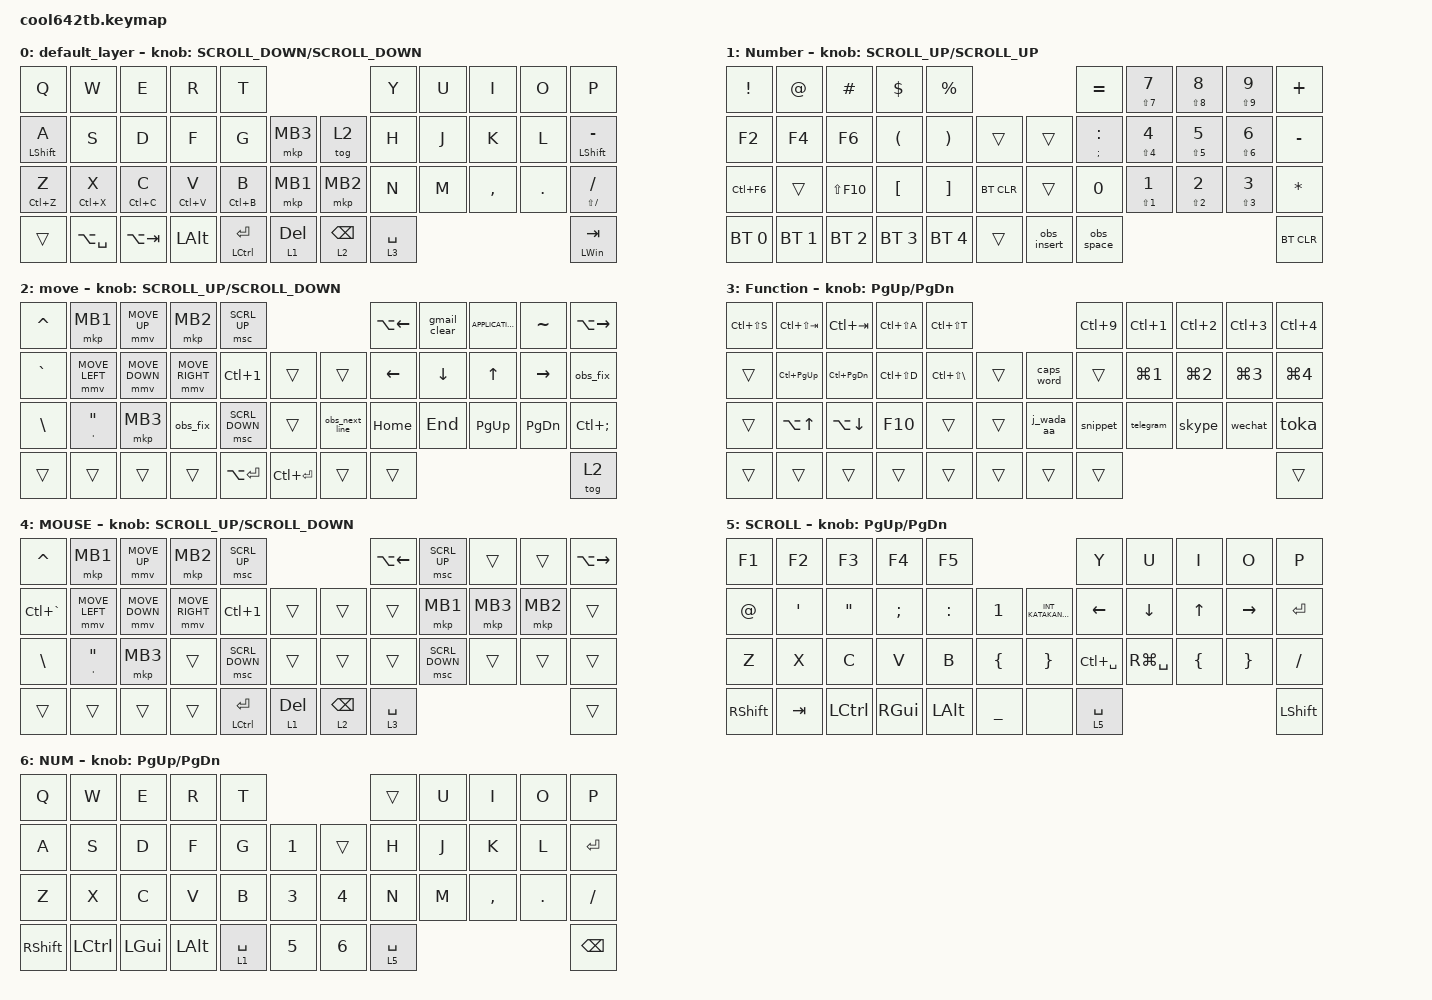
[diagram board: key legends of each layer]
#include <behaviors.dtsi>
#include <dt-bindings/zmk/bt.h>
#include <dt-bindings/zmk/keys.h>
#include <dt-bindings/zmk/pointing.h>

#define ZMK_POINTING_DEFAULT_MOVE_VAL 2000  // default: 600
#define ZMK_POINTING_DEFAULT_SCRL_VAL 20    // default: 10

// #define ZMK_MOUSE_POINTING_SCRL_VAL 100

#define MOUSE 4
#define SCROLL 5
#define NUM 6

&mt {
    flavor = "balanced";
    quick-tap-ms = <0>;
    tapping-term-ms = <150>;
};

&mmv {
    time-to-max-speed-ms = <100>;
    acceleration-exponent = <2>;
};

&inc_dec_kp {
    bindings = <&msc>, <&msc>;

    tap-ms = <20>;
};

/ {
    combos {
        compatible = "zmk,combos";

        comb1 {
            bindings = <&kp TAB>;
            key-positions = <20 19>;
        };

        kanji {
            bindings = <&kp LC(SPACE)>;
            key-positions = <38 41>;
        };

        ESCx2 {
            bindings = <&ESCx2>;
            key-positions = <7 8>;
        };

        Alt+Tab {
            bindings = <&kp LA(TAB)>;
            key-positions = <23 24>;
        };

        Win+Tab {
            bindings = <&kp LG(TAB)>;
            key-positions = <11 12>;
        };

        ESCx1 {
            bindings = <&kp ESCAPE>;
            key-positions = <1 2>;
        };

        obs_fix {
            bindings = <&obs_fix>;
            key-positions = <18 19>;
        };
    };

    macros {
        to_layer_0: to_layer_0 {
            compatible = "zmk,behavior-macro-one-param";
            #binding-cells = <1>;
            bindings = <&to 0 &macro_param_1to1 &kp MACRO_PLACEHOLDER>;
            label = "TO_LAYER_0";
        };

        obs_fix: obs_fix {
            compatible = "zmk,behavior-macro";
            #binding-cells = <0>;
            bindings = <&kp ENTER &kp ESC &kp ESC &kp DOWN &kp HOME>;
            label = "OBS_FIX";
        };

        obs_space: obs_space {
            compatible = "zmk,behavior-macro";
            #binding-cells = <0>;
            bindings = <&kp ESC &kp I &kp SPACE &kp ESC>;
            label = "OBS_SPACE";
        };

        toka: toka {
            compatible = "zmk,behavior-macro";
            #binding-cells = <0>;
            bindings = <&kp LS(T) &kp O &kp K &kp A &kp UNDER &kp N0 &kp N0 &kp N9 &kp N2 &kp N1 &kp ENTER>;
            label = "TOKA";
        };

        telegram: telegram {
            compatible = "zmk,behavior-macro";
            #binding-cells = <0>;
            bindings =
                <&kp LWIN>,
                <&macro_wait_time 100>,
                <&kp T &kp E &kp L &kp E &kp G &kp R &kp A &kp M &kp ENTER>;

            label = "TELEGRAM";
        };

        skype: skype {
            compatible = "zmk,behavior-macro";
            #binding-cells = <0>;
            bindings =
                <&kp LWIN>,
                <&macro_wait_time 100>,
                <&kp S &kp K &kp Y &kp P &kp E &kp ENTER>;

            label = "SKYPE";
        };

        wechat: wechat {
            compatible = "zmk,behavior-macro";
            #binding-cells = <0>;
            bindings =
                <&kt LWIN>,
                <&macro_wait_time 100>,
                <&kp W &kp E &kp C &kp H &kp A &kp T &kp ENTER>;

            label = "WECHAT";
        };

        obs_insert: obs_insert {
            compatible = "zmk,behavior-macro";
            #binding-cells = <0>;
            bindings = <&kp ESC &kp ESC &kp A &kp LC(SPACE)>;
            label = "OBS_INSERT";
        };

        gmail_clear: gmail_clear {
            compatible = "zmk,behavior-macro";
            #binding-cells = <0>;
            bindings = <&kp ESC &kp ESC &kp G &kp I &kp G &kp I>;
            label = "GMAIL_CLEAR";
        };

        obs_next_line: obs_next_line {
            compatible = "zmk,behavior-macro";
            #binding-cells = <0>;
            bindings = <&kp ESC &kp I &kp ENTER &kp ESC &kp UP &kp END>;
            label = "OBS_NEXT_LINE";
        };

        snippet: snippet {
            compatible = "zmk,behavior-macro";
            #binding-cells = <0>;
            bindings =
                <&kp LWIN>,
                <&macro_wait_time 100>,
                <&kp S &kp N &kp I &kp P &kp P &kp E &kp T &kp RET>;

            label = "SNIPPET";
        };

        ESCx2: ESCx2 {
            compatible = "zmk,behavior-macro";
            #binding-cells = <0>;
            bindings = <&kp ESC &kp ESC>;
            label = "ESCX2";
        };

        j_wada_aa: j_wada_aa2 {
            compatible = "zmk,behavior-macro";
            #binding-cells = <0>;
            bindings = <&kp J &kp DOT &kp W &kp A &kp D &kp A &kp DOT &kp A &kp A>;
            label = "J_WADA_AA2";
        };
    };

    behaviors {
        lt_to_layer_0: lt_to_layer_0 {
            compatible = "zmk,behavior-hold-tap";
            label = "LAYER_TAP_TO_0";
            bindings = <&mo>, <&to_layer_0>;

            #binding-cells = <2>;
            tapping-term-ms = <200>;
        };

        encoder_msc_down_up: encoder_msc_down_up {
            compatible = "zmk,behavior-sensor-rotate";
            #sensor-binding-cells = <0>;
            bindings = <&msc SCRL_DOWN>, <&msc SCRL_UP>;

            tap-ms = <20>;
        };

        my_sccroll: my_sccroll {
            compatible = "zmk,behavior-sensor-rotate";
            label = "MY_SCCROLL";
            #sensor-binding-cells = <0>;
            bindings = <&msc MOVE_X(10)>, <&msc SCRL_LEFT>;

            tap-ms = <20>;
        };
    };

    keymap {
        compatible = "zmk,keymap";

        default_layer {
            bindings = <
&kp Q        &kp W          &kp E        &kp R        &kp T                                   &kp Y        &kp U  &kp I      &kp O       &kp P
&mt LSHFT A  &kp S          &kp D        &kp F        &kp G            &mkp MB3   &tog 2      &kp H        &kp J  &kp K      &kp L       &mt LSHFT MINUS
&mt LC(Z) Z  &mt LC(X) X    &mt LC(C) C  &mt LC(V) V  &mt LC(B) B      &mkp MB1   &mkp MB2    &kp N        &kp M  &kp COMMA  &kp PERIOD  &mt LS(SLASH) SLASH
&trans       &kp LA(SPACE)  &kp LA(TAB)  &kp LALT     &mt LCTRL ENTER  &lt 1 DEL  &lt 2 BSPC  &lt 3 SPACE                                &mt LWIN TAB
            >;

            sensor-bindings = <&inc_dec_kp K_SCROLL_DOWN K_SCROLL_DOWN>;
        };

        Number {
            bindings = <
&kp EXCLAMATION  &kp AT_SIGN   &kp POUND     &kp DOLLAR            &kp PERCENT                                     &kp EQUAL            &mt LS(N7) N7  &mt LS(N8) N8  &mt LS(N9) N9  &kp PLUS
&kp F2           &kp F4        &kp F6        &kp LEFT_PARENTHESIS  &kp RIGHT_PARENTHESIS  &trans      &trans       &mt SEMICOLON COLON  &mt LS(N4) N4  &mt LS(N5) N5  &mt LS(N6) N6  &kp MINUS
&kp LC(F6)       &trans        &kp LS(F10)   &kp LEFT_BRACKET      &kp RIGHT_BRACKET      &bt BT_CLR  &trans       &kp N0               &mt LS(N1) N1  &mt LS(N2) N2  &mt LS(N3) N3  &kp ASTERISK
&bt BT_SEL 0     &bt BT_SEL 1  &bt BT_SEL 2  &bt BT_SEL 3          &bt BT_SEL 4           &trans      &obs_insert  &obs_space                                                        &bt BT_CLR
            >;

            sensor-bindings = <&inc_dec_kp K_SCROLL_UP K_SCROLL_UP>;
        };

        move {
            bindings = <
&kp CARET      &mkp MB1        &mmv MOVE_UP    &mkp MB2         &msc SCRL_UP                                   &kp LA(LEFT)  &gmail_clear  &kp K_APPLICATION  &kp TILDE      &kp LA(RIGHT)
&kp GRAVE      &mmv MOVE_LEFT  &mmv MOVE_DOWN  &mmv MOVE_RIGHT  &kp LC(N1)      &trans         &trans          &kp LEFT      &kp DOWN      &kp UP             &kp RIGHT      &obs_fix
&kp BACKSLASH  &mt SQT DQT     &mkp MB3        &obs_fix         &msc SCRL_DOWN  &trans         &obs_next_line  &kp HOME      &kp END       &kp PAGE_UP        &kp PAGE_DOWN  &kp LC(SEMICOLON)
&trans         &trans          &trans          &trans           &kp LA(ENTER)   &kp LC(ENTER)  &trans          &trans                                                        &tog 2
            >;

            sensor-bindings = <&inc_dec_kp K_SCROLL_UP K_SCROLL_DOWN>;
        };

        Function {
            bindings = <
&kp LC(LS(S))  &kp LC(LS(TAB))  &kp LC(TAB)        &kp LC(LS(A))  &kp LC(LS(T))                              &kp LC(N9)  &kp LC(N1)  &kp LC(N2)  &kp LC(N3)  &kp LC(N4)
&trans         &kp LC(PAGE_UP)  &kp LC(PAGE_DOWN)  &kp LC(LS(D))  &kp LC(LS(BACKSLASH))  &trans  &caps_word  &trans      &kp LG(N1)  &kp LG(N2)  &kp LG(N3)  &kp LG(N4)
&trans         &kp LA(UP)       &kp LA(DOWN)       &kp F10        &trans                 &trans  &j_wada_aa  &snippet    &telegram   &skype      &wechat     &toka
&trans         &trans           &trans             &trans         &trans                 &trans  &trans      &trans                                          &trans
            >;

            sensor-bindings = <&inc_dec_kp PG_UP PAGE_DOWN>;
        };

        MOUSE {
            bindings = <
&kp CARET      &mkp MB1        &mmv MOVE_UP    &mkp MB2         &msc SCRL_UP                                    &kp LA(LEFT_ARROW)  &msc SCRL_UP    &trans    &trans    &kp LA(RIGHT)
&kp LC(GRAVE)  &mmv MOVE_LEFT  &mmv MOVE_DOWN  &mmv MOVE_RIGHT  &kp LC(N1)       &trans        &trans           &trans              &mkp MB1        &mkp MB3  &mkp MB2  &trans
&kp BACKSLASH  &mt SQT DQT     &mkp MB3        &trans           &msc SCRL_DOWN   &trans        &trans           &trans              &msc SCRL_DOWN  &trans    &trans    &trans
&trans         &trans          &trans          &trans           &mt LCTRL ENTER  &lt 1 DELETE  &lt 2 BACKSPACE  &lt 3 SPACE                                             &trans
            >;

            sensor-bindings = <&inc_dec_kp K_SCROLL_UP K_SCROLL_DOWN>;
        };

        SCROLL {
            bindings = <
&kp F1       &kp F2   &kp F3             &kp F4         &kp F5                                                  &kp Y          &kp U           &kp I           &kp O            &kp P
&kp AT_SIGN  &kp SQT  &kp DOUBLE_QUOTES  &kp SEMICOLON  &kp COLON     &kp N1          &kp INT_KATAKANAHIRAGANA  &kp LEFT       &kp DOWN_ARROW  &kp UP_ARROW    &kp RIGHT        &kp ENTER
&kp Z        &kp X    &kp C              &kp V          &kp B         &kp LEFT_BRACE  &kp RIGHT_BRACE           &kp LC(SPACE)  &kp RG(SPACE)   &kp LEFT_BRACE  &kp RIGHT_BRACE  &kp SLASH
&kp RSHIFT   &kp TAB  &kp LCTRL          &kp RGUI       &kp LEFT_ALT  &kp UNDERSCORE  &none                     &lt 5 SPACE                                                     &kp LEFT_SHIFT
            >;

            sensor-bindings = <&inc_dec_kp PG_UP PAGE_DOWN>;
        };

        NUM {
            bindings = <
&kp Q       &kp W      &kp E     &kp R     &kp T                        &trans       &kp U  &kp I      &kp O       &kp P
&kp A       &kp S      &kp D     &kp F     &kp G        &kp N1  &trans  &kp H        &kp J  &kp K      &kp L       &kp ENTER
&kp Z       &kp X      &kp C     &kp V     &kp B        &kp N3  &kp N4  &kp N        &kp M  &kp COMMA  &kp PERIOD  &kp SLASH
&kp RSHIFT  &kp LCTRL  &kp LGUI  &kp LALT  &lt 1 SPACE  &kp N5  &kp N6  &lt 5 SPACE                                &kp BSPC
            >;

            sensor-bindings = <&inc_dec_kp PG_UP PAGE_DOWN>;
        };
    };
};
